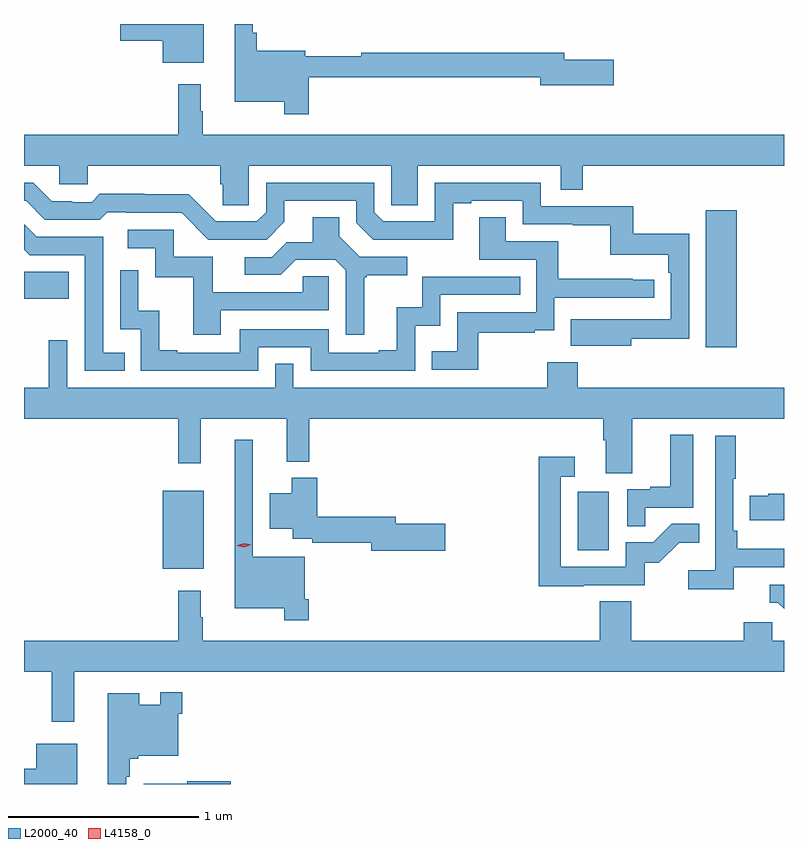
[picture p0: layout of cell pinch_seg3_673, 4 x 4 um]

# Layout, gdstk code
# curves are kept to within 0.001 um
import gdstk
lib = gdstk.Library(unit=1e-6, precision=1e-09)
def R(c, l, rs):  # rectangles x0, y0, x1, y1
    for r in rs: c.add(gdstk.rectangle(r[:2], r[2:], *l))
def P(c, l, *ps):  # polygons
    for p in ps: c.add(gdstk.Polygon(p, *l))
L2000_40 = (2000, 40)
L4158_0 = (4158, 0)

pinch_seg3_673 = lib.new_cell('pinch_seg3_673')
R(pinch_seg3_673, L2000_40, [(1132.61,669.491,1132.825,669.901), (1134.794,669.588,1134.958,669.895), (1135.469,670.656,1135.63,671.377), (1131.88,670.913,1132.115,671.053)])
P(pinch_seg3_673, L2000_40, [(1132.825,672.358),(1132.386,672.358),(1132.386,672.269),(1132.61,672.269),(1132.61,672.155),(1132.825,672.155)],
  [(1133.378,672.078),(1134.596,672.078),(1134.596,672.035),(1134.985,672.035),(1134.985,672.17),(1134.724,672.17),(1134.724,672.206),(1133.655,672.206),(1133.655,672.187),(1133.359,672.187),(1133.359,672.217),(1133.105,672.217),(1133.105,672.313),(1133.085,672.313),(1133.085,672.358),(1132.988,672.358),(1132.988,671.948),(1133.25,671.948),(1133.25,671.883),(1133.378,671.883)],
  [(1133.064,671.612),(1133.814,671.612),(1133.814,671.404),(1133.953,671.404),(1133.953,671.612),(1134.705,671.612),(1134.705,671.485),(1134.821,671.485),(1134.821,671.612),(1135.88,671.612),(1135.88,671.776),(1132.822,671.776),(1132.822,671.9),(1132.81,671.9),(1132.81,672.04),(1132.693,672.04),(1132.693,671.776),(1131.88,671.776),(1131.88,671.612),(1132.065,671.612),(1132.065,671.514),(1132.215,671.514),(1132.215,671.612),(1132.913,671.612),(1132.913,671.514),(1132.927,671.514),(1132.927,671.404),(1133.064,671.404)],
  [(1135.075,670.702),(1135.38,670.702),(1135.38,671.254),(1135.087,671.254),(1135.087,671.4),(1134.6,671.4),(1134.6,671.523),(1134.042,671.523),(1134.042,671.319),(1133.772,671.319),(1133.724,671.367),(1133.724,671.523),(1133.154,671.523),(1133.154,671.367),(1133.106,671.319),(1132.89,671.319),(1132.748,671.461),(1132.512,671.461),(1132.512,671.464),(1132.279,671.464),(1132.237,671.421),(1132.134,671.421),(1132.134,671.424),(1132.027,671.424),(1131.928,671.523),(1131.88,671.523),(1131.88,671.427),(1131.891,671.427),(1131.99,671.328),(1132.279,671.328),(1132.318,671.367),(1132.417,671.367),(1132.417,671.364),(1132.71,671.364),(1132.851,671.223),(1133.157,671.223),(1133.251,671.317),(1133.251,671.427),(1133.628,671.427),(1133.628,671.313),(1133.718,671.223),(1134.139,671.222),(1134.139,671.415),(1134.235,671.415),(1134.235,671.427),(1134.504,671.427),(1134.504,671.304),(1134.769,671.304),(1134.769,671.299),(1134.966,671.299),(1134.966,671.144),(1135.271,671.144),(1135.271,671.048),(1135.284,671.048),(1135.284,670.803),(1134.757,670.804),(1134.757,670.664),(1135.075,670.664)],
  [(1134.271,670.734),(1134.569,670.734),(1134.569,670.745),(1134.672,670.745),(1134.672,670.917),(1135.198,670.917),(1135.198,671.013),(1135.085,671.013),(1135.085,671.018),(1134.692,671.018),(1134.692,671.214),(1134.415,671.214),(1134.415,671.342),(1134.275,671.342),(1134.275,671.118),(1134.576,671.118),(1134.576,670.842),(1134.16,670.842),(1134.16,670.636),(1134.025,670.636),(1134.025,670.539),(1134.271,670.539)],
  [(1133.671,671.025),(1133.683,671.025),(1133.683,671.036),(1133.896,671.036),(1133.896,671.133),(1133.646,671.133),(1133.539,671.24),(1133.539,671.342),(1133.399,671.342),(1133.399,671.21),(1133.264,671.21),(1133.184,671.13),(1133.043,671.13),(1133.043,671.037),(1133.23,671.037),(1133.311,671.118),(1133.517,671.118),(1133.574,671.061),(1133.574,670.722),(1133.671,670.722)],
  [(1132.409,670.629),(1132.296,670.629),(1132.296,671.238),(1131.946,671.238),(1131.88,671.304),(1131.88,671.171),(1131.909,671.142),(1132.2,671.142),(1132.2,670.533),(1132.409,670.533)],
  [(1132.915,670.851),(1133.484,670.851),(1133.484,671.031),(1133.347,671.031),(1133.347,670.947),(1132.873,670.947),(1132.873,671.133),(1132.668,671.133),(1132.668,671.274),(1132.425,671.274),(1132.425,671.178),(1132.572,671.178),(1132.572,671.025),(1132.771,671.025),(1132.771,670.722),(1132.915,670.722)],
  [(1133.112,670.656),(1133.388,670.656),(1133.388,670.533),(1133.94,670.533),(1133.94,670.769),(1134.072,670.769),(1134.072,670.932),(1134.491,670.932),(1134.491,671.028),(1133.976,671.028),(1133.976,670.867),(1133.843,670.867),(1133.843,670.642),(1133.747,670.642),(1133.747,670.629),(1133.484,670.629),(1133.484,670.752),(1133.016,670.752),(1133.016,670.629),(1132.687,670.629),(1132.687,670.642),(1132.592,670.642),(1132.592,670.85),(1132.482,670.85),(1132.482,671.062),(1132.386,671.062),(1132.386,670.752),(1132.494,670.752),(1132.494,670.533),(1133.112,670.533)],
  [(1135.081,670.28),(1135.88,670.28),(1135.88,670.444),(1134.794,670.444),(1134.794,670.579),(1134.634,670.579),(1134.634,670.444),(1133.298,670.444),(1133.298,670.571),(1133.202,670.571),(1133.202,670.444),(1132.107,670.444),(1132.107,670.693),(1132.01,670.693),(1132.01,670.444),(1131.88,670.444),(1131.88,670.28),(1132.693,670.28),(1132.693,670.047),(1132.811,670.047),(1132.811,670.28),(1133.264,670.28),(1133.264,670.055),(1133.381,670.055),(1133.381,670.28),(1134.929,670.28),(1134.929,670.168),(1134.941,670.168),(1134.941,669.994),(1135.081,669.994)],
  [(1135.151,669.813),(1135.402,669.813),(1135.402,670.195),(1135.28,670.195),(1135.28,669.922),(1135.177,669.922),(1135.177,669.909),(1135.056,669.909),(1135.056,669.715),(1135.151,669.715)],
  [(1135.616,669.498),(1135.88,669.498),(1135.88,669.595),(1135.634,669.595),(1135.634,669.691),(1135.614,669.691),(1135.614,669.964),(1135.627,669.964),(1135.627,670.192),(1135.518,670.192),(1135.518,669.484),(1135.377,669.484),(1135.377,669.382),(1135.616,669.382)],
  [(1133.378,669.331),(1133.358,669.331),(1133.358,669.553),(1133.085,669.553),(1133.085,670.171),(1132.988,670.171),(1132.988,669.284),(1133.25,669.284),(1133.25,669.219),(1133.378,669.219)],
  [(1134.827,669.405),(1135.146,669.405),(1135.146,669.522),(1135.222,669.522),(1135.329,669.629),(1135.433,669.629),(1135.433,669.728),(1135.29,669.728),(1135.192,669.63),(1135.047,669.63),(1135.047,669.501),(1134.705,669.501),(1134.705,669.975),(1134.778,669.975),(1134.778,670.081),(1134.589,670.081),(1134.589,669.4),(1134.827,669.4)],
  [(1134.097,669.728),(1133.836,669.728),(1133.836,669.764),(1133.423,669.764),(1133.423,669.97),(1133.288,669.97),(1133.288,669.889),(1133.174,669.889),(1133.174,669.701),(1133.294,669.701),(1133.294,669.648),(1133.398,669.648),(1133.398,669.628),(1133.708,669.628),(1133.708,669.586),(1134.097,669.586)],
  [(1135.88,669.886),(1135.797,669.886),(1135.797,669.876),(1135.699,669.876),(1135.699,669.746),(1135.88,669.746)],
  [(1135.88,669.408),(1135.805,669.408),(1135.805,669.312),(1135.848,669.312),(1135.88,669.28)],
  [(1132.145,668.948),(1135.88,668.948),(1135.88,669.112),(1135.818,669.112),(1135.818,669.21),(1135.667,669.21),(1135.667,669.112),(1135.076,669.112),(1135.076,669.32),(1134.911,669.32),(1134.911,669.112),(1132.822,669.112),(1132.822,669.236),(1132.81,669.236),(1132.81,669.376),(1132.693,669.376),(1132.693,669.112),(1131.88,669.112),(1131.88,668.948),(1132.027,668.948),(1132.027,668.685),(1132.145,668.685)],
  [(1132.419,668.396),(1132.437,668.396),(1132.437,668.492),(1132.482,668.492),(1132.482,668.507),(1132.692,668.507),(1132.692,668.729),(1132.712,668.729),(1132.712,668.842),(1132.596,668.842),(1132.596,668.776),(1132.486,668.776),(1132.486,668.836),(1132.322,668.836),(1132.322,668.358),(1132.419,668.358)],
  [(1132.159,668.569),(1131.944,668.569),(1131.944,668.438),(1131.88,668.438),(1131.88,668.358),(1132.159,668.358)],
  [(1132.969,668.372),(1132.74,668.372),(1132.74,668.359),(1132.509,668.359),(1132.509,668.358),(1132.969,668.358)])
P(pinch_seg3_673, L4158_0, [(1133.039,669.605),(1133.003,669.613),(1133.003,669.614),(1133.003,669.614),(1133.038,669.625),(1133.075,669.617),(1133.075,669.616),(1133.075,669.616)])

lib.write_gds('pinch_seg3_673.gds')
